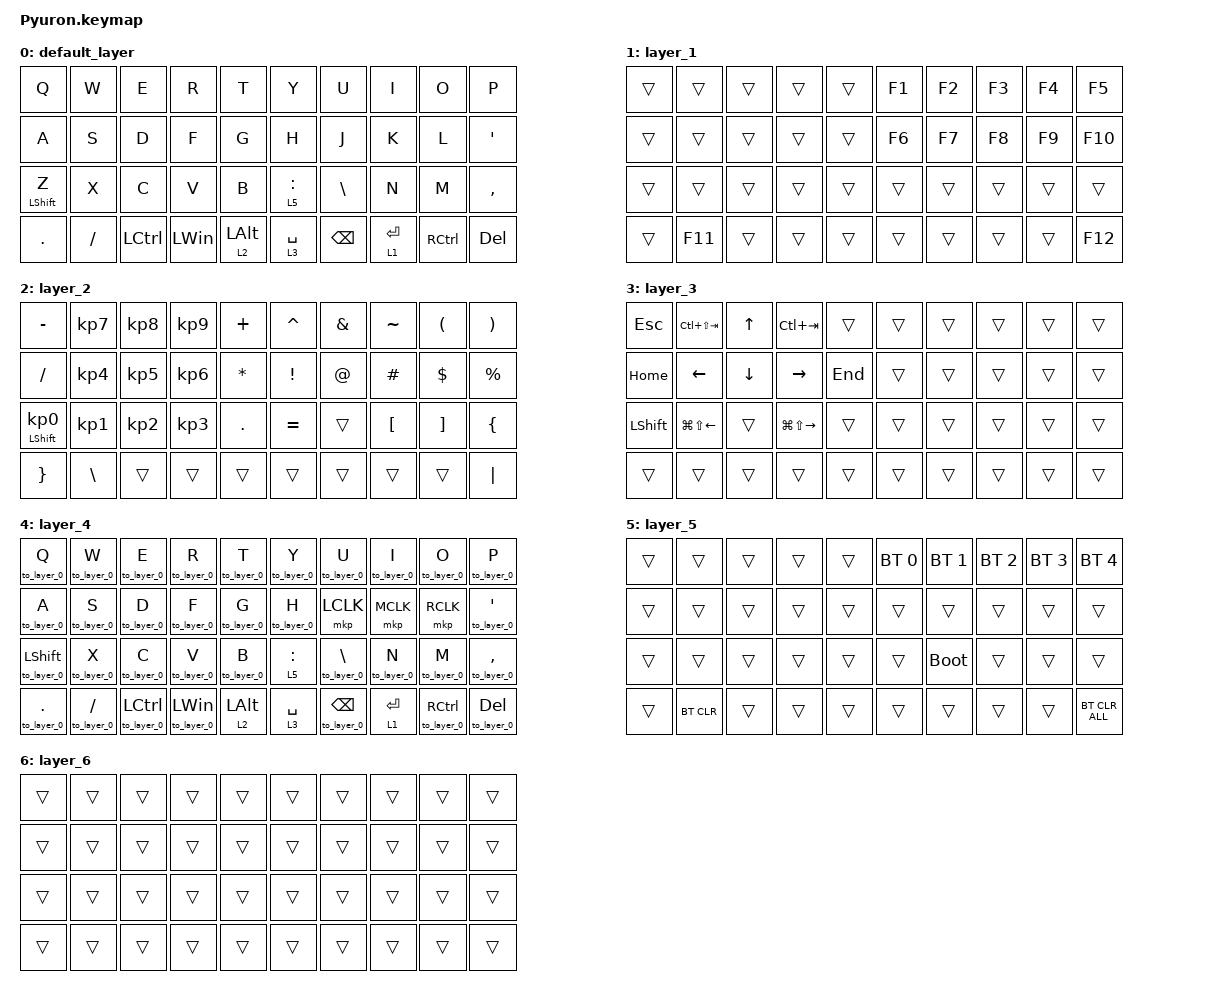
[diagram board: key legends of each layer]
#include <behaviors.dtsi>
#include <dt-bindings/zmk/bt.h>
#include <dt-bindings/zmk/keys.h>
#include <dt-bindings/zmk/pointing.h>

/ {
    behaviors {
        // マウスレイヤー内で文字キーを押した時だけ、その文字を入力しつつ自動で通常レイヤー(0)に戻す設定
        to_layer_0: to_layer_0 {
            compatible = "zmk,behavior-macro-one-param";
            #binding-cells = <1>;
            bindings = <&to 0 &macro_param_1to1 &kp MACRO_PLACEHOLDER>;
            label = "TO_LAYER_0";
        };
    };

    // 同時押し（コンボ）設定：言語切り替え
    combos {
        compatible = "zmk,combos";

        // ① 左手 D + F 同時押しで「英語入力」に切り替え
        combo_lang_en {
            timeout-ms = <50>;
            key-positions = <12 13>;
            bindings = <&kp LANG2>;
        };

        // ② 右手 J + K 同時押しで「日本語入力」に切り替え
        combo_lang_ja {
            timeout-ms = <50>;
            key-positions = <16 17>;
            bindings = <&kp LANG1>;
        };
    };

    // ホールド・タップ設定
    lt_to_layer_0: lt_to_layer_0 {
        compatible = "zmk,behavior-hold-tap";
        label = "LAYER_TAP_TO_0";
        bindings = <&mo>, <&to_layer_0>;
        #binding-cells = <2>;
        tapping-term-ms = <200>;
    };

    /* ========================================================================== */
    /* ▼▼▼ ここにオートマウス（自動レイヤー切り替え）の定義を追加しました ▼▼▼ */
    /* ========================================================================== */
    
    /* 左側トラックボール用のオートマウス設定 */
    automouse_left_listener {
        compatible = "zmk,input-behavior-listener";
        device = <&trackball_split_L>; // Pyuron.dtsiで定義されている左側デバイス
        layers = <4>;                  // 自動切り替え先のマウスレイヤー(layer_4)
        timeout-ms = <600>;            // ボールが止まってから元のレイヤーに戻る時間(ミリ秒)
    };

    /* 右側トラックボール用のオートマウス設定 */
    automouse_right_listener {
        compatible = "zmk,input-behavior-listener";
        device = <&trackball_R>;       // Pyuron_R.overlayで定義されている右側デバイス
        layers = <4>;                  // 左右共通でlayer_4を指定
        timeout-ms = <600>;            // ボールが止まってから元のレイヤーに戻る時間(ミリ秒)
    };
    /* ========================================================================== */
};

/ {
    keymap {
        compatible = "zmk,keymap";

        // レイヤー 0：通常文字入力
        default_layer {
            bindings = <
&kp Q             &kp W      &kp E      &kp R         &kp T           &kp Y        &kp U          &kp I        &kp O              &kp P
&kp A             &kp S      &kp D      &kp F         &kp G           &kp H        &kp J          &kp K        &kp L              &kp SQT
&mt LEFT_SHIFT Z  &kp X      &kp C      &kp V         &kp B           &lt 5 COLON  &kp BACKSLASH  &kp N        &kp M              &kp COMMA
&kp DOT           &kp SLASH  &kp LCTRL  &kp LEFT_WIN  &lt 2 LEFT_ALT  &lt 3 SPACE  &kp BACKSPACE  &lt 1 ENTER  &kp RIGHT_CONTROL  &kp DEL
            >;
        };

        // レイヤー 1：ファンクションキー
        layer_1 {
            bindings = <
&trans  &trans   &trans  &trans  &trans  &kp F1  &kp F2  &kp F3  &kp F4  &kp F5
&trans  &trans   &trans  &trans  &trans  &kp F6  &kp F7  &kp F8  &kp F9  &kp F10
&trans  &trans   &trans  &trans  &trans  &trans  &trans  &trans  &trans  &trans
&trans  &kp F11  &trans  &trans  &trans  &trans  &trans  &trans  &trans  &kp F12
            >;
        };

        // レイヤー 2：数字・記号
        layer_2 {
            bindings = <
&kp MINUS                    &kp KP_NUMBER_7  &kp KP_NUMBER_8  &kp KP_NUMBER_9  &kp PLUS      &kp CARET        &kp AMPERSAND  &kp TILDE         &kp LEFT_PARENTHESIS  &kp RIGHT_PARENTHESIS
&kp SLASH                    &kp KP_NUMBER_4  &kp KP_NUMBER_5  &kp KP_NUMBER_6  &kp ASTERISK  &kp EXCLAMATION  &kp AT_SIGN    &kp HASH          &kp DOLLAR            &kp PERCENT
&mt LEFT_SHIFT KP_NUMBER_0  &kp KP_NUMBER_1  &kp KP_NUMBER_2  &kp KP_NUMBER_3  &kp PERIOD    &kp EQUAL        &trans         &kp LEFT_BRACKET  &kp RIGHT_BRACKET     &kp LEFT_BRACE
&kp RIGHT_BRACE              &kp BACKSLASH    &trans           &trans           &trans        &trans           &trans         &trans            &trans                &kp PIPE
            >;
        };

        // レイヤー 3：移動・ショートカット
        layer_3 {
            bindings = <
&kp ESCAPE      &kp LC(LS(TAB))         &kp UP_ARROW    &kp LC(TAB)              &trans   &trans  &trans  &trans  &trans  &trans
&kp HOME        &kp LEFT_ARROW          &kp DOWN_ARROW  &kp RIGHT_ARROW          &kp END  &trans  &trans  &trans  &trans  &trans
&kp LEFT_SHIFT  &kp LG(LS(LEFT_ARROW))  &trans          &kp LG(LS(RIGHT_ARROW))  &trans   &trans  &trans  &trans  &trans  &trans
&trans          &trans                  &trans          &trans                   &trans   &trans  &trans  &trans  &trans  &trans
            >;
        };

        // レイヤー 4：MOUSE（クリックキーは「to_layer_0」を外して純粋なクリック単体に修正）
        layer_4 {
            bindings = <
&to_layer_0 Q             &to_layer_0 W      &to_layer_0 E      &to_layer_0 R         &to_layer_0 T           &to_layer_0 Y        &to_layer_0 U          &to_layer_0 I        &to_layer_0 O              &to_layer_0 P
&to_layer_0 A             &to_layer_0 S      &to_layer_0 D      &to_layer_0 F         &to_layer_0 G           &to_layer_0 H        &mkp LCLK              &mkp MCLK            &mkp RCLK                  &to_layer_0 SQT
&to_layer_0 LEFT_SHIFT    &to_layer_0 X      &to_layer_0 C      &to_layer_0 V         &to_layer_0 B           &lt_to_layer_0 5 COLON &to_layer_0 BACKSLASH &to_layer_0 N        &to_layer_0 M              &to_layer_0 COMMA
&to_layer_0 DOT           &to_layer_0 SLASH  &to_layer_0 LCTRL  &to_layer_0 LEFT_WIN  &lt_to_layer_0 2 LEFT_ALT &lt_to_layer_0 3 SPACE &to_layer_0 BACKSPACE  &lt_to_layer_0 1 ENTER &to_layer_0 RIGHT_CONTROL  &to_layer_0 DEL
            >;
        };

        // レイヤー 5：Bluetooth設定
        layer_5 {
            bindings = <
&trans  &trans      &trans  &trans  &trans  &bt BT_SEL 0  &bt BT_SEL 1  &bt BT_SEL 2  &bt BT_SEL 3  &bt BT_SEL 4
&trans  &trans      &trans  &trans  &trans  &trans        &trans        &trans        &trans        &trans
&trans  &trans      &trans  &trans  &trans  &trans        &bootloader   &trans        &trans        &trans
&trans  &bt BT_CLR  &trans  &trans  &trans  &trans        &trans        &trans        &trans        &bt BT_CLR_ALL
            >;
        };

        // レイヤー 6：未使用
        layer_6 {
            bindings = <
&trans  &trans  &trans  &trans  &trans  &trans  &trans  &trans  &trans  &trans
&trans  &trans  &trans  &trans  &trans  &trans  &trans  &trans  &trans  &trans
&trans  &trans  &trans  &trans  &trans  &trans  &trans  &trans  &trans  &trans
&trans  &trans  &trans  &trans  &trans  &trans  &trans  &trans  &trans  &trans
            >;
        };
    };
};
